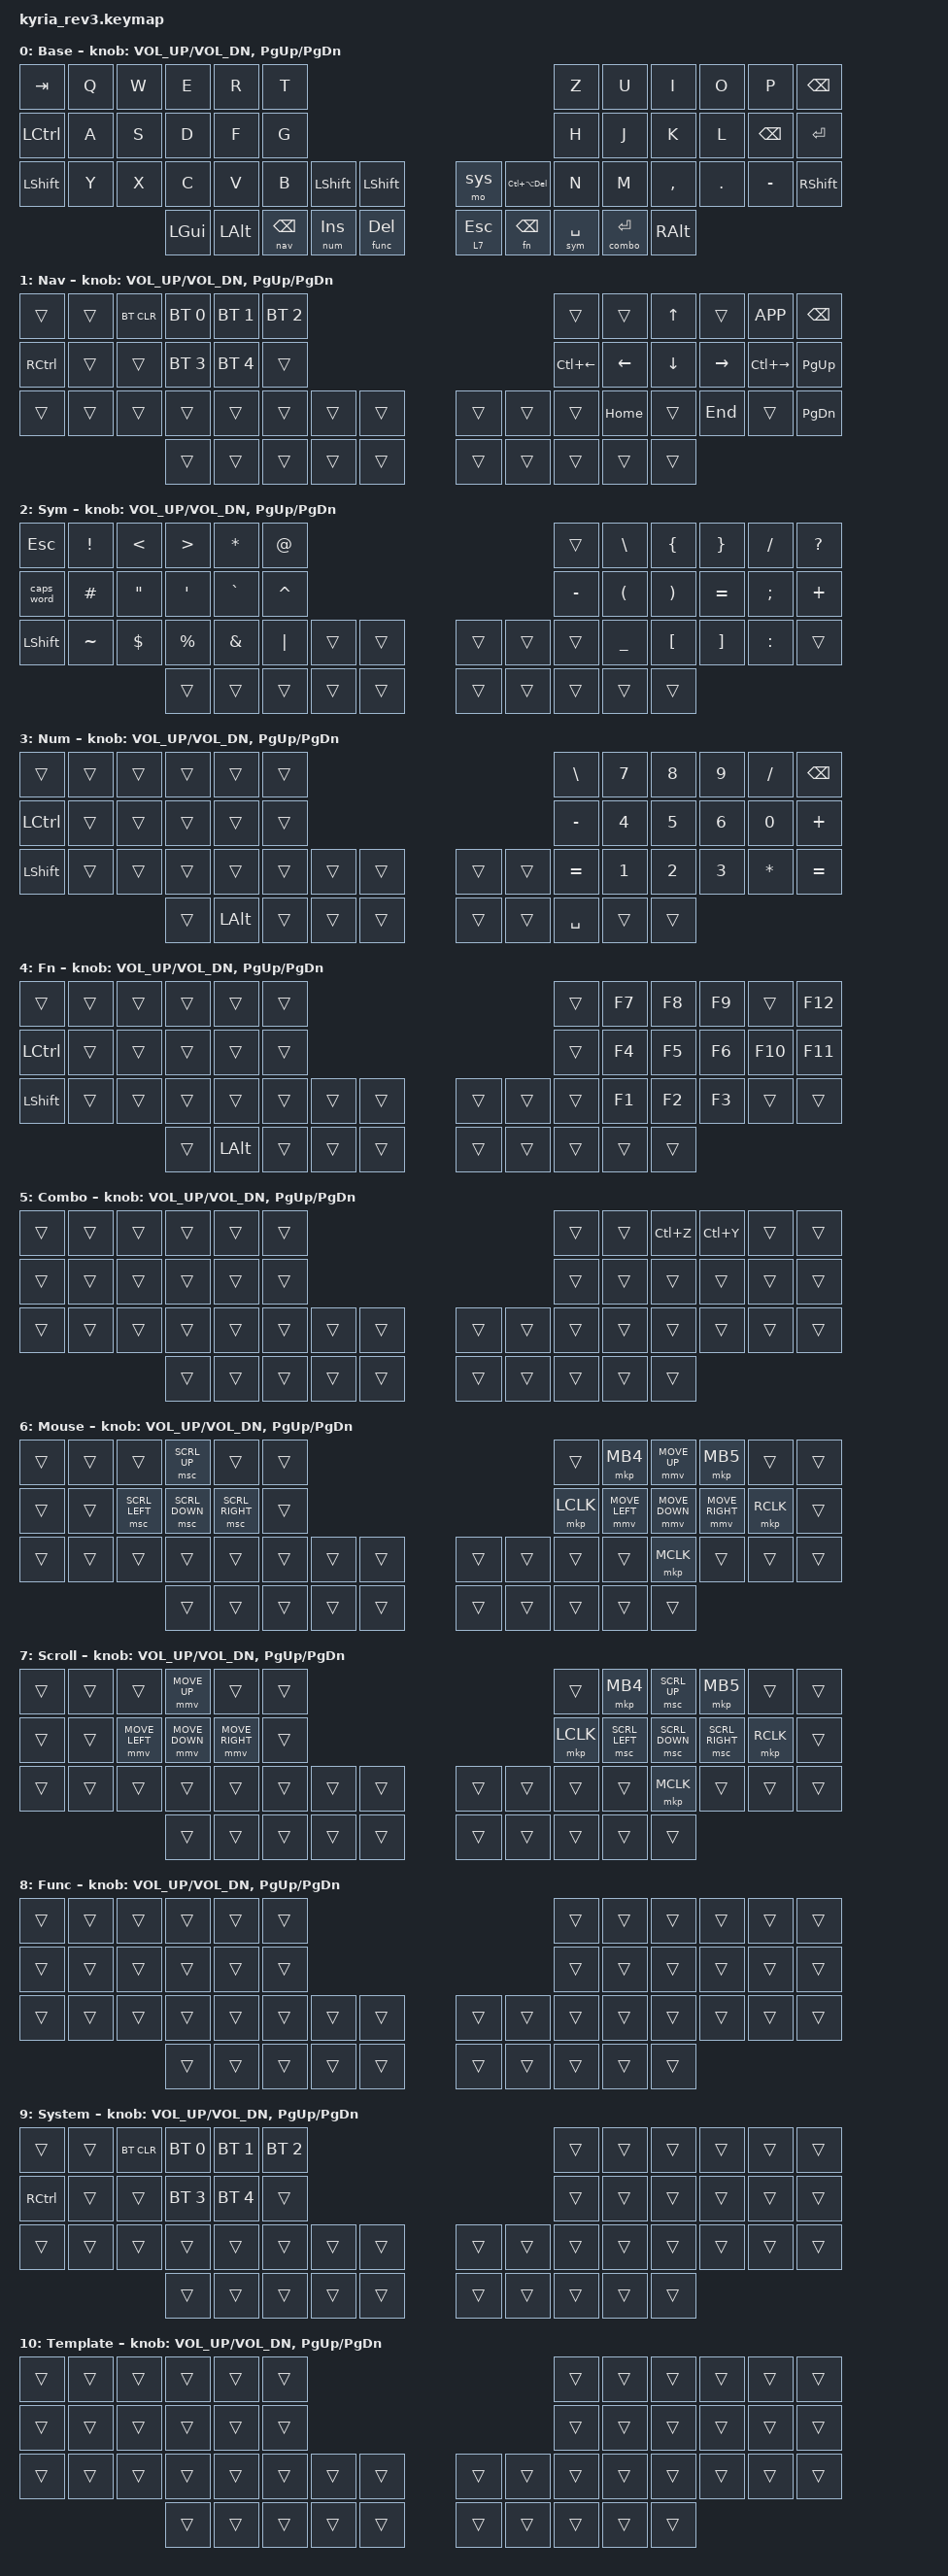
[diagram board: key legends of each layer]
/*
 * Copyright (c) 2023 The ZMK Contributors
 *
 * SPDX-License-Identifier: MIT
 */


#define base 0
#define nav 1
#define sym 2
#define num 3
#define fn 4
#define combo 5
#define mouse 6
#define scroll 7
#define func 8
#define sys 9

#define ZMK_POINTING_DEFAULT_MOVE_VAL 1500  // Sets mouse movement speed (default is 600)
#define ZMK_POINTING_DEFAULT_SCRL_VAL 20    // Sets scroll speed (default is 10)

#include <behaviors.dtsi>
#include <dt-bindings/zmk/bt.h>
#include <dt-bindings/zmk/keys.h>

#include <dt-bindings/zmk/pointing.h>

/* Uncomment this block if using RGB
&led_strip {
    chain-length = <6>;
    // chain-length = <31>; // Uncomment if using both per-key and underglow LEDs
    // chain-length = <25>; // Uncomment if using only per-key LEDs.
};
 */

/ {
    keymap {
        compatible = "zmk,keymap";

        base_layer {
            display-name = "Base";
            // ---------------------------------------------------------------------------------------------------------------------------------
            // |  TAB  |  Q  |  W  |  E   |  R   |  T   |                                          |  Z   |  U    |  I    |  O   |   P   |   BSPC  |
            // |  LCTRL  |  A  |  S  |  D   |  F   |  G   |                                          |  H   |  J    |  K    |  L   |   bspc   |   RET  |
            // | LSHIFT |  Y  |  X  |  C   |  V   |  B   | L SHIFT | L SHIFT |  | LAYER 1 | L SHIFT |  N   |  M    |  ,    |  .   |  MINUS | RSHFT |
            //                     | GUI  | LALT  | lt-1/BSPC  |  INS  |   DEL   |  |   ESC   |  BSPC  | lt-2/SPACE  | RET  | R-ALT |
            bindings = <
            &kp TAB   &kp Q &kp W &kp E &kp R &kp T                                                  &kp Z &kp U  &kp I     &kp O   &kp P    &kp BSPC
            &kp LCTRL   &kp A &kp S &kp D &kp F &kp G                                                &kp H &kp J  &kp K     &kp L   &kp BSPC &kp RET
            &kp LSHFT &kp Y &kp X &kp C &kp V &kp B &kp LSHFT &kp LSHFT            &mo sys  &kp LC(LA(DEL))   &kp N &kp M  &kp COMMA &kp DOT &kp MINUS &kp RSHFT
            &kp LGUI &kp LALT &lt_hp nav BSPC &lt_hp num INS &lt_hp func DEL       &lt_hp 7 ESC &lt_hp fn BSPC &lt_hp sym SPACE &lt_hp combo RET &kp RALT
            >;

            sensor-bindings = <&inc_dec_kp C_VOL_UP C_VOL_DN &inc_dec_kp PG_UP PG_DN>;
        };
        nav_layer {
            display-name = "Nav";
            // ---------------------------------------------------------------------------------------------------------------------------------
            // |       |      |BT_CLR|BTSEL0|BTSEL1|BTSEL2|                                         |      |      |  UP    |      | CTX  |   BSPC   |
            // | RCTRL |      |      |BTSEL3|BTSEL4|      |                                         |LC(LFT)| LEFT|  DOWN  |RIGHT |LC(RGHT)| PG_UP |
            // |       |      |      |      |      |      |      |      |      |      |      |      |      | HOME |        | END  |      |  PG_DN  |
            //                       |      |      |      |      |      |      |      |      |      |      |      |      |
            bindings = <
            &trans &trans &bt BT_CLR &bt BT_SEL 0 &bt BT_SEL 1 &bt BT_SEL 2              &trans &trans &kp UP &trans &kp K_APP &kp BSPC
            &kp RCTRL &trans &trans     &bt BT_SEL 3 &bt BT_SEL 4 &trans                    &kp LC(LEFT) &kp LEFT &kp DOWN &kp RIGHT &kp LC(RIGHT) &kp PG_UP
            &trans &trans &trans &trans &trans &trans &trans &trans        &trans &trans &trans &kp HOME &trans &kp END &trans &kp PG_DN
            &trans &trans &trans &trans &trans        &trans &trans &trans &trans &trans
            >;

            sensor-bindings = <&inc_dec_kp C_VOL_UP C_VOL_DN &inc_dec_kp PG_UP PG_DN>;
        };
        sym_layer {
            display-name = "Sym";
            // ------------------------------------------------------------------------------------------------------------------------------ ;---
            // |  ESC  | EXCL | LT   | GT   | STAR |  AT  |                                |      | BSLH | LBRC | RBRC | FSLH | QMARK |
            // | caps-word | HASH | DQT  | APOS |GRAVE | CARET|                                | MINUS| LPAR | RPAR | EQUAL| SEMI | PLUS  |
            // | LSHFT | TILDE|DOLLAR|PERC  | AMPS | PIPE |      |      |   |      |       |      | UNDER| LBKT | RBKT | COLON|       |       
            //                       |      |      |      |   -  |   -  |   |   -  |   -   |      |      |      |
            bindings = <
                &kp ESC   &kp EXCL &kp LT   &kp GT &kp STAR &kp AT                               &trans &kp BSLH &kp LBRC &kp RBRC &kp FSLH &kp QMARK
                &caps_word &kp HASH &kp DQT  &kp APOS &kp GRAVE &kp CARET                    &kp MINUS &kp LPAR &kp RPAR &kp EQUAL &kp SEMI &kp PLUS
                &kp LSHFT &kp TILDE &kp DOLLAR &kp PERCENT &kp AMPS &kp PIPE &trans &trans        &trans &trans &trans &kp UNDER &kp LBKT &kp RBKT &kp COLON &trans
                &trans &trans &trans &trans &trans        &trans &trans &trans &trans &trans
            >;

            sensor-bindings = <&inc_dec_kp C_VOL_UP C_VOL_DN &inc_dec_kp PG_UP PG_DN>;
        };
        num_layer {
            display-name = "Num";
            // ---------------------------------------------------------------------------------------------------------------------------------
            // |       |       |  f7   |  f8   |  f9   |       |                                 |   \   |    7  |   8   |   9   |   /   |  BSPC |
            // |   LC  |   f10 |  f4   |  f5   |  f6   |  f11  |                                 |   -   |    4  |   5   |   6   |   0   |   +   |
            // |   LS  |       |  f1   |  f2   |  f3   |  f12  |       |      |  |       |       |   =   |    1  |   2   |   3   |   *   |   =   |
            //                         |       |   LA  |       |       |      |  |       |       | SPACE |       |       |
            bindings = <
                &trans  &trans  &trans  &trans  &trans  &trans                                    &kp BSLH  &kp N7  &kp N8  &kp N9  &kp FSLH  &kp BSPC
                &kp LCTRL  &trans  &trans  &trans  &trans  &trans                                    &kp MINUS &kp N4  &kp N5  &kp N6  &kp N0  &kp PLUS
                &kp LSHFT  &trans  &trans  &trans  &trans  &trans  &trans  &trans    &trans  &trans  &kp EQUAL  &kp N1  &kp N2  &kp N3  &kp STAR  &kp EQUAL
                                        &trans  &kp LALT  &trans  &trans  &trans    &trans  &trans  &kp SPACE  &trans  &trans
            >;

            sensor-bindings = <&inc_dec_kp C_VOL_UP C_VOL_DN &inc_dec_kp PG_UP PG_DN>;
        };
        fn_layer {
            display-name = "Fn";
            // ---------------------------------------------------------------------------------------------------------------------------------
            // |       |       |       |       |       |       |                                 |       |  f7   |  f8   |  f9   |       |  f12  |
            // |   LC  |       |       |       |       |       |                                 |       |  f4   |  f5   |  f6   |  f10  |  f11  |
            // |   LS  |       |       |       |       |       |       |      |  |       |       |       |  f1   |  f2   |  f3   |       |       |
            //                         |       |   LA  |       |       |      |  |       |       |       |       |       |
            bindings = <
                &trans  &trans  &trans  &trans  &trans  &trans                                    &trans  &kp F7  &kp F8  &kp F9  &trans  &kp F12
                &kp LCTRL  &trans  &trans  &trans  &trans  &trans                                    &trans  &kp F4  &kp F5  &kp F6  &kp F10 &kp F11
                &kp LSHFT  &trans  &trans  &trans  &trans  &trans  &trans  &trans    &trans  &trans  &trans  &kp F1  &kp F2  &kp F3  &trans  &trans
                                        &trans  &kp LALT  &trans  &trans  &trans    &trans  &trans  &trans  &trans  &trans
            >;

            sensor-bindings = <&inc_dec_kp C_VOL_UP C_VOL_DN &inc_dec_kp PG_UP PG_DN>;
        };
        combo_layer {
            display-name = "Combo";
            // ---------------------------------------------------------------------------------------------------------------------------------
            // |       |       |       |       |       |       |                                 |       |       | LC(Z) | LC(Y) |       |       |
            // |       |       |       |       |       |       |                                 |       |       |       |       |       |       |
            // |       |       |       |       |       |       |       |      |  |       |       |       |       |       |       |       |       |
            //                         |       |       |       |       |      |  |       |       |       |       |       |
            bindings = <
                &trans  &trans  &trans  &trans  &trans  &trans                                    &trans  &trans  &kp LC(Z) &kp LC(Y) &trans  &trans
                &trans  &trans  &trans  &trans  &trans  &trans                                    &trans  &trans  &trans  &trans  &trans  &trans
                &trans  &trans  &trans  &trans  &trans  &trans  &trans  &trans    &trans  &trans  &trans  &trans  &trans  &trans  &trans  &trans
                                        &trans  &trans  &trans  &trans  &trans    &trans  &trans  &trans  &trans  &trans
            >;

            sensor-bindings = <&inc_dec_kp C_VOL_UP C_VOL_DN &inc_dec_kp PG_UP PG_DN>;
        };
        mouse_layer {
            display-name = "Mouse";
            // ---------------------------------------------------------------------------------------------------------------------------------
            // |       |       |       |       |       |       |                                 |       |       |   M up   |       |       |       |
            // |       |       |       |       |       |       |                                 |       |  M left     |   M down  |  M right     |       |       |
            // |       |       |       |       |       |       |       |      |  |       |       |       |       |       |       |       |       |
            //                         |       |       |       |       |      |  |       |       |       |       |       |
            bindings = <
                &trans  &trans  &trans  &msc SCRL_UP  &trans  &trans                                    &trans  &mkp MB4  &mmv MOVE_UP  &mkp MB5  &trans  &trans
                &trans  &trans  &msc SCRL_LEFT  &msc SCRL_DOWN  &msc SCRL_RIGHT  &trans                  &mkp LCLK  &mmv MOVE_LEFT  &mmv MOVE_DOWN  &mmv MOVE_RIGHT  &mkp RCLK  &trans
                &trans  &trans  &trans  &trans  &trans  &trans  &trans  &trans    &trans  &trans  &trans  &trans  &mkp MCLK  &trans  &trans  &trans
                                        &trans  &trans  &trans  &trans  &trans    &trans  &trans  &trans  &trans  &trans
            >;

            sensor-bindings = <&inc_dec_kp C_VOL_UP C_VOL_DN &inc_dec_kp PG_UP PG_DN>;
        };
        scroll_layer {
            display-name = "Scroll";
            // ---------------------------------------------------------------------------------------------------------------------------------
            // |       |       |       |       |       |       |                                 |       |       |   M   |       |       |       |
            // |       |       |       |       |       |       |                                 |       |       |   O   |       |       |       |
            // |       |       |       |       |       |       |       |      |  |       |       |       |       |       |       |       |       |
            //                         |       |       |       |       |      |  |       |       |       |       |       |
            bindings = <
                &trans  &trans  &trans  &mmv MOVE_UP  &trans  &trans                                    &trans  &mkp MB4  &msc SCRL_UP &mkp MB5  &trans  &trans
                &trans  &trans  &mmv MOVE_LEFT  &mmv MOVE_DOWN  &mmv MOVE_RIGHT  &trans                  &mkp LCLK  &msc SCRL_LEFT  &msc SCRL_DOWN  &msc SCRL_RIGHT  &mkp RCLK  &trans
                &trans  &trans  &trans  &trans  &trans  &trans  &trans  &trans    &trans  &trans  &trans  &trans  &mkp MCLK  &trans  &trans  &trans
                                        &trans  &trans  &trans  &trans  &trans    &trans  &trans  &trans  &trans  &trans
            >;

            sensor-bindings = <&inc_dec_kp C_VOL_UP C_VOL_DN &inc_dec_kp PG_UP PG_DN>;
        };
        func_layer {
            display-name = "Func";
            // ---------------------------------------------------------------------------------------------------------------------------------
            // |       |       |       |       |       |       |                                 |       |       |       |       |       |       |
            // |       |       |       |       |       |       |                                 |       |       |       |       |       |       |
            // |       |       |       |       |       |       |       |      |  |       |       |       |       |       |       |       |       |
            //                         |       |       |       |       |      |  |       |       |       |       |       |
            bindings = <
                &trans  &trans  &trans  &trans  &trans  &trans                                    &trans  &trans  &trans  &trans  &trans  &trans
                &trans  &trans  &trans  &trans  &trans  &trans                                    &trans  &trans  &trans  &trans  &trans  &trans
                &trans  &trans  &trans  &trans  &trans  &trans  &trans  &trans    &trans  &trans  &trans  &trans  &trans  &trans  &trans  &trans
                                        &trans  &trans  &trans  &trans  &trans    &trans  &trans  &trans  &trans  &trans
            >;

            sensor-bindings = <&inc_dec_kp C_VOL_UP C_VOL_DN &inc_dec_kp PG_UP PG_DN>;
        };
        sys_layer {
            display-name = "System";
            // ---------------------------------------------------------------------------------------------------------------------------------
            // |       |       |       |       |       |       |                                 |       |       |       |       |       |       |
            // |       |       |       |       |       |       |                                 |       |       |       |       |       |       |
            // |       |       |       |       |       |       |       |      |  |       |       |       |       |       |       |       |       |
            //                         |       |       |       |       |      |  |       |       |       |       |       |
            bindings = <
                &trans  &trans  &bt BT_CLR &bt BT_SEL 0 &bt BT_SEL 1 &bt BT_SEL 2                                    &trans  &trans  &trans  &trans  &trans  &trans
                 &kp RCTRL &trans &trans     &bt BT_SEL 3 &bt BT_SEL 4 &trans                                    &trans  &trans  &trans  &trans  &trans  &trans
                &trans  &trans  &trans  &trans  &trans  &trans  &trans  &trans    &trans  &trans  &trans  &trans  &trans  &trans  &trans  &trans
                                        &trans  &trans  &trans  &trans  &trans    &trans  &trans  &trans  &trans  &trans
            >;

            sensor-bindings = <&inc_dec_kp C_VOL_UP C_VOL_DN &inc_dec_kp PG_UP PG_DN>;
        };
        template_layer {
            display-name = "Template";
            // ---------------------------------------------------------------------------------------------------------------------------------
            // |       |       |       |       |       |       |                                 |       |       |       |       |       |       |
            // |       |       |       |       |       |       |                                 |       |       |       |       |       |       |
            // |       |       |       |       |       |       |       |      |  |       |       |       |       |       |       |       |       |
            //                         |       |       |       |       |      |  |       |       |       |       |       |
            bindings = <
                &trans  &trans  &trans  &trans  &trans  &trans                                    &trans  &trans  &trans  &trans  &trans  &trans
                &trans  &trans  &trans  &trans  &trans  &trans                                    &trans  &trans  &trans  &trans  &trans  &trans
                &trans  &trans  &trans  &trans  &trans  &trans  &trans  &trans    &trans  &trans  &trans  &trans  &trans  &trans  &trans  &trans
                                        &trans  &trans  &trans  &trans  &trans    &trans  &trans  &trans  &trans  &trans
            >;

            sensor-bindings = <&inc_dec_kp C_VOL_UP C_VOL_DN &inc_dec_kp PG_UP PG_DN>;
        };
    };



    combos {
        compatible = "zmk,combos";

        combo_1 {
            key-positions = <20 21>;
            bindings = <&lambda_macro>;
            timeout-ms = <50>;
            layers = <0 2>;
        };
    };


    macros {
        lambda_macro: lambda_macro {
            compatible = "zmk,behavior-macro";
            #binding-cells = <0>;
            bindings = <&macro_tap &kp EQUAL &kp GT>;
        };
    };

    conditional_layers {
        compatible = "zmk,conditional-layers";
        tri_layer {
            if-layers = <1 2>;
            then-layer = <6>;
        };
    };


        behaviors {
        lt_hp: layer_tap {
            compatible = "zmk,behavior-hold-tap";
            #binding-cells = <2>;
            flavor = "hold-preferred";
            tapping-term-ms = <200>;
            bindings = <&mo>, <&kp>;
            display-name = "Layer-Tap";
        };
    };

};
